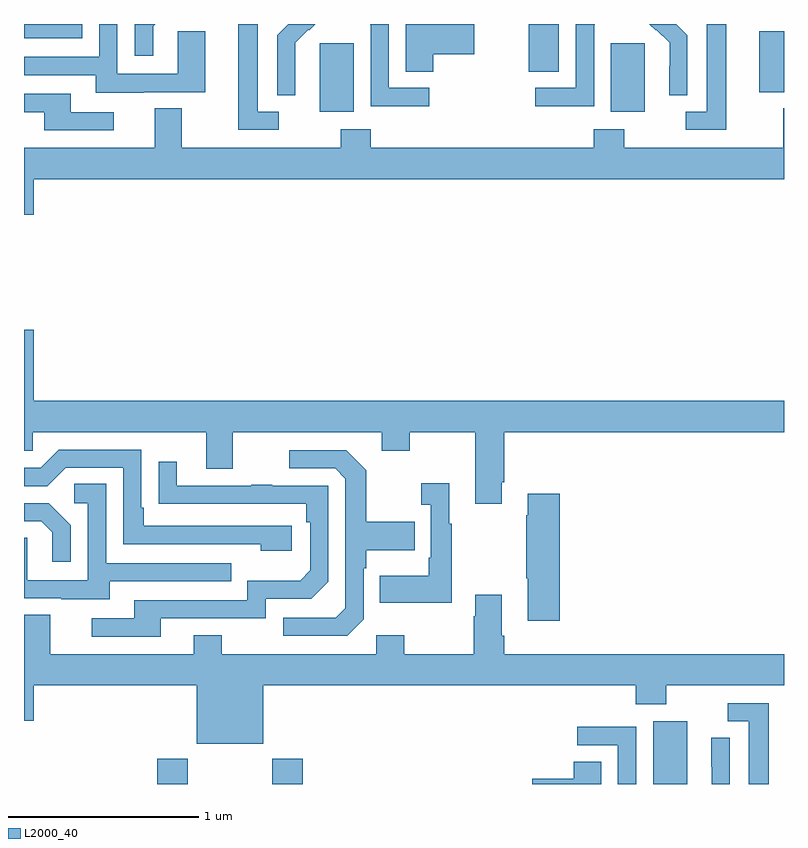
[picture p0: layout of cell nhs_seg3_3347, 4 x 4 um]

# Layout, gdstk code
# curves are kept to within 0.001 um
import gdstk
lib = gdstk.Library(unit=1e-6, precision=1e-09)
def R(c, l, rs):  # rectangles x0, y0, x1, y1
    for r in rs: c.add(gdstk.rectangle(r[:2], r[2:], *l))
def P(c, l, *ps):  # polygons
    for p in ps: c.add(gdstk.Polygon(p, *l))
L2000_40 = (2000, 40)

nhs_seg3_3347 = lib.new_cell('nhs_seg3_3347')
R(nhs_seg3_3347, L2000_40, [(285.701,696.4,285.861,696.532), (286.306,696.4,286.466,696.532), (288.311,696.4,288.49,696.73), (286.556,699.938,286.735,700.299), (288.089,699.938,288.268,700.299), (288.869,700.041,289,700.361), (287.657,700.15,287.815,700.4), (285,700.326,285.306,700.4)])
P(nhs_seg3_3347, L2000_40, [(288.697,700.4),(288.593,700.4),(288.593,699.939),(288.483,699.939),(288.483,699.843),(288.697,699.843)],
  [(288,700.396),(288.003,700.396),(288.003,700.4),(287.904,700.4),(287.904,700.065),(287.691,700.065),(287.691,699.967),(288,699.967)],
  [(288.492,700.342),(288.434,700.4),(288.292,700.4),(288.324,700.368),(288.327,700.371),(288.398,700.301),(288.398,700.178),(288.396,700.178),(288.396,700.024),(288.492,700.024)],
  [(285.679,700.389),(285.69,700.4),(285.582,700.4),(285.582,700.233),(285.679,700.233)],
  [(286.342,699.939),(286.231,699.939),(286.231,700.4),(286.127,700.4),(286.127,699.843),(286.342,699.843)],
  [(285.631,700.041),(285.955,700.041),(285.955,700.361),(285.81,700.361),(285.81,700.137),(285.492,700.137),(285.492,700.4),(285.396,700.4),(285.396,700.227),(285,700.227),(285,700.131),(285.377,700.131),(285.377,700.037),(285.631,700.037)],
  [(286.428,700.178),(286.427,700.178),(286.427,700.301),(286.497,700.371),(286.5,700.368),(286.532,700.4),(286.39,700.4),(286.332,700.342),(286.332,700.024),(286.428,700.024)],
  [(287.134,700.065),(286.92,700.065),(286.92,700.4),(286.822,700.4),(286.822,700.396),(286.824,700.396),(286.824,699.967),(287.134,699.967)],
  [(287.153,700.241),(287.371,700.241),(287.371,700.4),(287.009,700.4),(287.009,700.15),(287.153,700.15)],
  [(285.472,699.936),(285.247,699.936),(285.247,700.032),(285,700.032),(285,699.936),(285.107,699.936),(285.107,699.84),(285.472,699.84)],
  [(285.052,699.584),(289,699.584),(289,699.956),(288.995,699.956),(288.995,699.748),(288.159,699.748),(288.159,699.847),(287.999,699.847),(287.999,699.748),(286.826,699.748),(286.826,699.847),(286.666,699.847),(286.666,699.748),(285.829,699.748),(285.829,699.956),(285.689,699.956),(285.689,699.748),(285,699.748),(285,699.396),(285.052,699.396)],
  [(287.515,697.987),(287.528,697.987),(287.528,698.252),(289,698.252),(289,698.416),(285.052,698.416),(285.052,698.791),(285,698.791),(285,698.154),(285.045,698.154),(285.045,698.252),(285.959,698.252),(285.959,698.058),(286.099,698.058),(286.099,698.252),(286.883,698.252),(286.883,698.153),(287.031,698.153),(287.031,698.252),(287.375,698.252),(287.375,697.875),(287.515,697.875)],
  [(286.408,697.758),(285.631,697.758),(285.631,697.855),(285.618,697.855),(285.618,698.16),(285.183,698.16),(285.087,698.064),(285,698.064),(285,697.968),(285.123,697.968),(285.219,698.064),(285.522,698.064),(285.522,697.662),(286.247,697.662),(286.247,697.628),(286.408,697.628)],
  [(286.788,697.266),(286.788,697.535),(286.801,697.535),(286.801,697.631),(287.057,697.631),(287.057,697.779),(286.801,697.779),(286.801,698.051),(286.695,698.157),(286.395,698.157),(286.395,698.061),(286.638,698.061),(286.692,698.007),(286.692,697.326),(286.641,697.275),(286.365,697.275),(286.365,697.179),(286.701,697.179)],
  [(285.721,697.272),(286.272,697.272),(286.272,697.374),(286.512,697.374),(286.602,697.464),(286.602,697.971),(286.307,697.971),(286.307,697.976),(286.195,697.976),(286.195,697.971),(285.805,697.971),(285.805,698.095),(285.709,698.095),(285.709,697.876),(286.486,697.875),(286.486,697.778),(286.506,697.778),(286.506,697.524),(286.453,697.471),(286.176,697.471),(286.176,697.368),(285.581,697.368),(285.581,697.272),(285.357,697.272),(285.357,697.176),(285.721,697.176)],
  [(287.251,697.771),(287.239,697.771),(287.239,697.984),(287.091,697.984),(287.091,697.871),(287.142,697.871),(287.142,697.591),(287.13,697.591),(287.13,697.495),(286.873,697.495),(286.873,697.355),(287.251,697.355)],
  [(285.451,697.467),(286.091,697.467),(286.091,697.563),(285.432,697.563),(285.432,697.979),(285.264,697.979),(285.264,697.878),(285.336,697.878),(285.336,697.473),(285.018,697.473),(285.018,697.697),(285,697.697),(285,697.377),(285.197,697.377),(285.197,697.373),(285.451,697.373)],
  [(287.819,697.927),(287.651,697.927),(287.651,697.814),(287.644,697.814),(287.644,697.483),(287.651,697.483),(287.651,697.26),(287.819,697.26)],
  [(285.246,697.762),(285.13,697.878),(285,697.878),(285,697.782),(285.092,697.782),(285.149,697.725),(285.149,697.569),(285.246,697.569)],
  [(286.258,696.92),(288.221,696.92),(288.221,696.821),(288.381,696.821),(288.381,696.92),(289,696.92),(289,697.084),(287.528,697.084),(287.528,697.18),(287.515,697.18),(287.515,697.396),(287.375,697.396),(287.375,697.283),(287.368,697.283),(287.368,697.084),(287.001,697.084),(287.001,697.183),(286.854,697.183),(286.854,697.084),(286.041,697.084),(286.041,697.183),(285.893,697.183),(285.893,697.084),(285.139,697.084),(285.139,697.292),(285,697.292),(285,696.732),(285.052,696.732),(285.052,696.92),(285.908,696.92),(285.908,696.611),(286.258,696.611)],
  [(288.919,696.825),(288.705,696.825),(288.705,696.729),(288.815,696.729),(288.815,696.4),(288.919,696.4)],
  [(288.222,696.702),(287.913,696.702),(287.913,696.603),(288.126,696.603),(288.126,696.4),(288.222,696.4)],
  [(288.714,696.644),(288.618,696.644),(288.618,696.49),(288.62,696.49),(288.62,696.4),(288.714,696.4)],
  [(288.037,696.518),(287.894,696.518),(287.894,696.428),(287.676,696.428),(287.676,696.4),(288.037,696.4)])

lib.write_gds('nhs_seg3_3347.gds')
